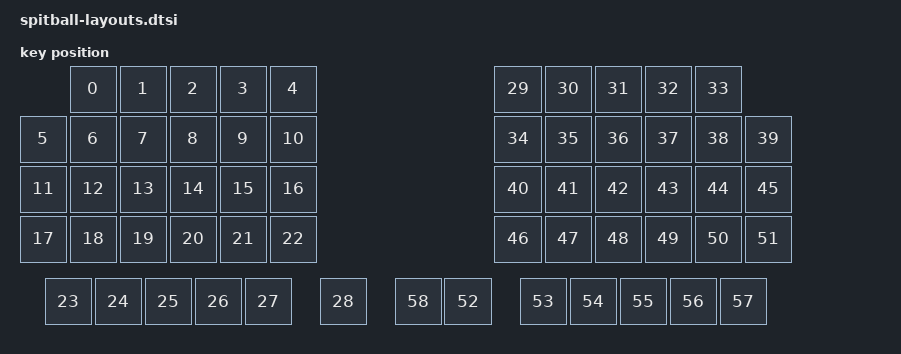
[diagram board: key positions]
#include <physical_layouts.dtsi>

/ {
    physical_layout_spitball: physical_layout_spitball {
        compatible = "zmk,physical-layout";
        display-name = "SpitBall";
        keys  //                     w   h    x    y     rot    rx    ry
            = <&key_physical_attrs 100 100  100    0       0   100     0>
            , <&key_physical_attrs 100 100  200    0       0   200     0>
            , <&key_physical_attrs 100 100  300    0       0   300     0>
            , <&key_physical_attrs 100 100  400    0       0   400     0>
            , <&key_physical_attrs 100 100  500    0       0   500     0>
            , <&key_physical_attrs 100 100    0  100       0     0   100>
            , <&key_physical_attrs 100 100  100  100       0   100   100>
            , <&key_physical_attrs 100 100  200  100       0   200   100>
            , <&key_physical_attrs 100 100  300  100       0   300   100>
            , <&key_physical_attrs 100 100  400  100       0   400   100>
            , <&key_physical_attrs 100 100  500  100       0   500   100>
            , <&key_physical_attrs 100 100    0  200       0     0   200>
            , <&key_physical_attrs 100 100  100  200       0   100   200>
            , <&key_physical_attrs 100 100  200  200       0   200   200>
            , <&key_physical_attrs 100 100  300  200       0   300   200>
            , <&key_physical_attrs 100 100  400  200       0   400   200>
            , <&key_physical_attrs 100 100  500  200       0   500   200>
            , <&key_physical_attrs 100 100    0  300       0     0   300>
            , <&key_physical_attrs 100 100  100  300       0   100   300>
            , <&key_physical_attrs 100 100  200  300       0   200   300>
            , <&key_physical_attrs 100 100  300  300       0   300   300>
            , <&key_physical_attrs 100 100  400  300       0   400   300>
            , <&key_physical_attrs 100 100  500  300       0   500   300>
            , <&key_physical_attrs 100 100   50  425       0    50   425>
            , <&key_physical_attrs 100 100  150  425       0   150   425>
            , <&key_physical_attrs 100 100  250  425       0   250   425>
            , <&key_physical_attrs 100 100  350  425       0   350   425>
            , <&key_physical_attrs 100 100  450  425       0   450   425>
            , <&key_physical_attrs 100 100  600  425       0   600   425>
            , <&key_physical_attrs 100 100  950    0       0   950     0>
            , <&key_physical_attrs 100 100 1050    0       0  1050     0>
            , <&key_physical_attrs 100 100 1150    0       0  1150     0>
            , <&key_physical_attrs 100 100 1250    0       0  1250     0>
            , <&key_physical_attrs 100 100 1350    0       0  1350     0>
            , <&key_physical_attrs 100 100  950  100       0   950   100>
            , <&key_physical_attrs 100 100 1050  100       0  1050   100>
            , <&key_physical_attrs 100 100 1150  100       0  1150   100>
            , <&key_physical_attrs 100 100 1250  100       0  1250   100>
            , <&key_physical_attrs 100 100 1350  100       0  1350   100>
            , <&key_physical_attrs 100 100 1450  100       0  1450   100>
            , <&key_physical_attrs 100 100  950  200       0   950   200>
            , <&key_physical_attrs 100 100 1050  200       0  1050   200>
            , <&key_physical_attrs 100 100 1150  200       0  1150   200>
            , <&key_physical_attrs 100 100 1250  200       0  1250   200>
            , <&key_physical_attrs 100 100 1350  200       0  1350   200>
            , <&key_physical_attrs 100 100 1450  200       0  1450   200>
            , <&key_physical_attrs 100 100  950  300       0   950   300>
            , <&key_physical_attrs 100 100 1050  300       0  1050   300>
            , <&key_physical_attrs 100 100 1150  300       0  1150   300>
            , <&key_physical_attrs 100 100 1250  300       0  1250   300>
            , <&key_physical_attrs 100 100 1350  300       0  1350   300>
            , <&key_physical_attrs 100 100 1450  300       0  1450   300>
            , <&key_physical_attrs 100 100  850  425       0   850   425>
            , <&key_physical_attrs 100 100 1000  425       0  1000   425>
            , <&key_physical_attrs 100 100 1100  425       0  1100   425>
            , <&key_physical_attrs 100 100 1200  425       0  1200   425>
            , <&key_physical_attrs 100 100 1300  425       0  1300   425>
            , <&key_physical_attrs 100 100 1400  425       0  1400   425>
            , <&key_physical_attrs 100 100  750  425       0   750   425>
            ;
    };
};
